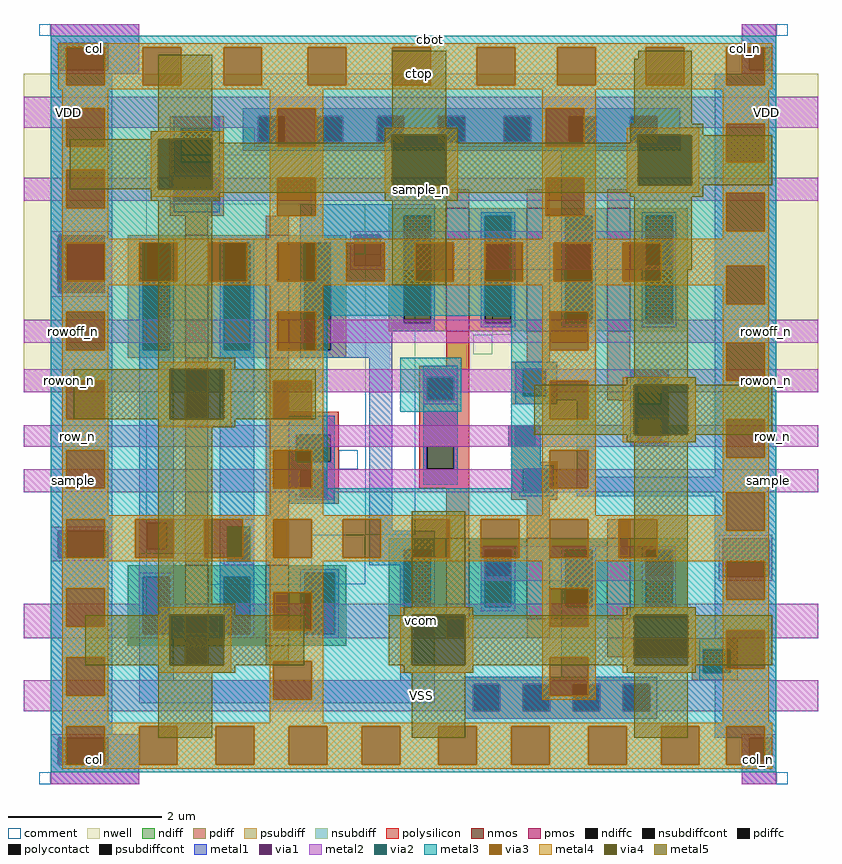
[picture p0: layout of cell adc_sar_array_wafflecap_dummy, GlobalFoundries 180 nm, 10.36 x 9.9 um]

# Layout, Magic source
magic
tech gf180mcuD
magscale 1 10
<< nwell >>
rect 2501 1020 4571 1850
<< nmos >>
rect 2921 360 2981 570
rect 3131 360 3191 570
rect 3601 430 3661 640
rect 3811 430 3871 640
rect 4021 430 4081 640
<< pmos >>
rect 2921 1110 2981 1430
rect 3131 1110 3191 1430
rect 3601 1180 3661 1500
rect 3811 1180 3871 1500
rect 4021 1180 4081 1500
<< ndiff >>
rect 3451 610 3601 640
rect 2771 540 2921 570
rect 2771 390 2811 540
rect 2881 390 2921 540
rect 2771 360 2921 390
rect 2981 540 3131 570
rect 2981 390 3021 540
rect 3091 390 3131 540
rect 2981 360 3131 390
rect 3191 550 3341 570
rect 3191 390 3231 550
rect 3311 390 3341 550
rect 3451 460 3491 610
rect 3561 460 3601 610
rect 3451 430 3601 460
rect 3661 610 3811 640
rect 3661 460 3701 610
rect 3771 460 3811 610
rect 3661 430 3811 460
rect 3871 610 4021 640
rect 3871 460 3911 610
rect 3981 460 4021 610
rect 3871 430 4021 460
rect 4081 610 4231 640
rect 4081 460 4121 610
rect 4191 460 4231 610
rect 4081 430 4231 460
rect 3191 360 3341 390
<< pdiff >>
rect 3451 1480 3601 1500
rect 2771 1410 2921 1430
rect 2771 1130 2811 1410
rect 2881 1130 2921 1410
rect 2771 1110 2921 1130
rect 2981 1410 3131 1430
rect 2981 1130 3021 1410
rect 3091 1130 3131 1410
rect 2981 1110 3131 1130
rect 3191 1410 3341 1430
rect 3191 1130 3231 1410
rect 3301 1130 3341 1410
rect 3451 1200 3491 1480
rect 3561 1200 3601 1480
rect 3451 1180 3601 1200
rect 3661 1480 3811 1500
rect 3661 1200 3701 1480
rect 3771 1200 3811 1480
rect 3661 1180 3811 1200
rect 3871 1480 4021 1500
rect 3871 1200 3911 1480
rect 3981 1200 4021 1480
rect 3871 1180 4021 1200
rect 4081 1480 4231 1500
rect 4081 1200 4121 1480
rect 4191 1200 4231 1480
rect 4081 1180 4231 1200
rect 3191 1110 3341 1130
<< ndiffc >>
rect 2811 390 2881 540
rect 3021 390 3091 540
rect 3231 390 3311 550
rect 3491 460 3561 610
rect 3701 460 3771 610
rect 3911 460 3981 610
rect 4121 460 4191 610
<< pdiffc >>
rect 2811 1130 2881 1410
rect 3021 1130 3091 1410
rect 3231 1130 3301 1410
rect 3491 1200 3561 1480
rect 3701 1200 3771 1480
rect 3911 1200 3981 1480
rect 4121 1200 4191 1480
<< psubdiff >>
rect 3651 260 4151 280
rect 3651 190 3671 260
rect 3741 190 3801 260
rect 3871 190 3931 260
rect 4001 190 4061 260
rect 4131 190 4151 260
rect 3651 170 4151 190
<< nsubdiff >>
rect 3071 1740 4211 1760
rect 3071 1670 3111 1740
rect 3181 1670 3261 1740
rect 3331 1670 3421 1740
rect 3491 1670 3581 1740
rect 3651 1670 3751 1740
rect 3821 1670 3921 1740
rect 3991 1670 4081 1740
rect 4151 1670 4211 1740
rect 3071 1650 4211 1670
<< psubdiffcont >>
rect 3671 190 3741 260
rect 3801 190 3871 260
rect 3931 190 4001 260
rect 4061 190 4131 260
<< nsubdiffcont >>
rect 3111 1670 3181 1740
rect 3261 1670 3331 1740
rect 3421 1670 3491 1740
rect 3581 1670 3651 1740
rect 3751 1670 3821 1740
rect 3921 1670 3991 1740
rect 4081 1670 4151 1740
<< polysilicon >>
rect 2881 1710 3021 1740
rect 2881 1620 2911 1710
rect 2991 1620 3021 1710
rect 2881 1480 3021 1620
rect 3601 1500 3661 1550
rect 3811 1500 3871 1550
rect 4021 1500 4081 1550
rect 2921 1430 2981 1480
rect 3131 1430 3191 1480
rect 2591 1280 2711 1430
rect 2921 570 2981 1110
rect 3131 970 3191 1110
rect 3601 1090 3661 1180
rect 3811 1100 3871 1180
rect 3531 1060 3661 1090
rect 3531 1000 3551 1060
rect 3621 1000 3661 1060
rect 3131 910 3321 970
rect 3131 840 3211 910
rect 3301 840 3321 910
rect 3131 730 3321 840
rect 3531 880 3661 1000
rect 3771 1080 3891 1100
rect 3771 1010 3801 1080
rect 3861 1010 3891 1080
rect 3771 990 3891 1010
rect 4021 1080 4081 1180
rect 4021 1060 4181 1080
rect 4021 1000 4101 1060
rect 4052 999 4101 1000
rect 4081 990 4101 999
rect 4161 990 4181 1060
rect 3531 820 3551 880
rect 3621 820 3661 880
rect 3763 878 3847 934
rect 4081 880 4181 990
rect 3531 770 3661 820
rect 3131 570 3191 730
rect 3601 640 3661 770
rect 3771 840 3847 878
rect 3771 820 3891 840
rect 3771 760 3801 820
rect 3871 760 3891 820
rect 3771 740 3891 760
rect 3811 640 3871 740
rect 4021 640 4081 690
rect 3601 380 3661 430
rect 3811 380 3871 430
rect 4021 380 4081 430
rect 2921 310 2981 360
rect 3131 310 3191 360
rect 4021 350 4361 380
rect 4021 330 4271 350
rect 4241 290 4271 330
rect 4341 290 4361 350
rect 4241 270 4361 290
<< polycontact >>
rect 2911 1620 2991 1710
rect 3551 1000 3621 1060
rect 3211 840 3301 910
rect 3801 1010 3861 1080
rect 4101 990 4161 1060
rect 3551 820 3621 880
rect 3801 760 3871 820
rect 4271 290 4341 350
<< metal1 >>
rect 2571 1930 2801 1980
rect 2571 1860 2591 1930
rect 2721 1860 2801 1930
rect 2571 1850 2801 1860
rect 4371 1920 4461 1980
rect 4371 1860 4391 1920
rect 4451 1860 4461 1920
rect 4371 1850 4461 1860
rect 2571 1430 2731 1850
rect 3071 1740 4211 1760
rect 2891 1710 3011 1740
rect 2891 1620 2911 1710
rect 2991 1620 3011 1710
rect 3071 1670 3111 1740
rect 3181 1670 3261 1740
rect 3331 1670 3421 1740
rect 3491 1670 3581 1740
rect 3651 1670 3751 1740
rect 3821 1670 3921 1740
rect 3991 1670 4081 1740
rect 4151 1670 4211 1740
rect 3071 1650 4211 1670
rect 2891 1580 3011 1620
rect 2891 1490 3011 1520
rect 2571 1280 2591 1430
rect 2711 1280 2731 1430
rect 3221 1480 3571 1510
rect 3221 1430 3491 1480
rect 2571 660 2731 1280
rect 2571 590 2591 660
rect 2721 590 2731 660
rect 2801 1410 2891 1420
rect 2801 1130 2811 1410
rect 2881 1130 2891 1410
rect 2801 680 2891 1130
rect 2801 611 2821 680
rect 2873 611 2891 680
rect 2801 600 2891 611
rect 3011 1410 3101 1420
rect 3011 1130 3021 1410
rect 3091 1130 3101 1410
rect 3011 650 3101 1130
rect 3221 1410 3361 1430
rect 3221 1130 3231 1410
rect 3301 1350 3361 1410
rect 3431 1350 3491 1430
rect 3301 1200 3491 1350
rect 3561 1200 3571 1480
rect 3301 1180 3571 1200
rect 3691 1480 3781 1490
rect 3691 1200 3701 1480
rect 3771 1200 3781 1480
rect 3691 1190 3781 1200
rect 3901 1480 3991 1650
rect 3901 1200 3911 1480
rect 3981 1200 3991 1480
rect 3901 1190 3991 1200
rect 4111 1480 4201 1490
rect 4111 1200 4121 1480
rect 4191 1200 4201 1480
rect 4111 1190 4201 1200
rect 3301 1130 3461 1180
rect 3221 1110 3461 1130
rect 3191 910 3311 960
rect 3191 840 3211 910
rect 3301 840 3311 910
rect 3191 818 3311 840
rect 3191 747 3221 818
rect 3291 747 3311 818
rect 3191 730 3311 747
rect 2571 130 2731 590
rect 3011 580 3031 650
rect 3083 580 3101 650
rect 2801 540 2891 550
rect 2801 390 2811 540
rect 2881 390 2891 540
rect 2801 270 2891 390
rect 3011 540 3101 580
rect 3401 660 3461 1110
rect 3541 1060 3631 1090
rect 3541 1000 3551 1060
rect 3621 1000 3631 1060
rect 3541 880 3631 1000
rect 3781 1080 3891 1100
rect 3781 1010 3801 1080
rect 3861 1050 3891 1080
rect 4081 1060 4181 1080
rect 3861 1010 3991 1050
rect 3781 1000 3991 1010
rect 3781 990 3891 1000
rect 3541 820 3551 880
rect 3621 820 3631 880
rect 3763 932 3847 934
rect 3763 880 3781 932
rect 3833 880 3847 932
rect 3763 878 3847 880
rect 3541 780 3631 820
rect 3771 830 3847 878
rect 3771 820 3881 830
rect 3771 760 3801 820
rect 3871 760 3881 820
rect 3791 750 3881 760
rect 3941 800 3991 1000
rect 4081 990 4101 1060
rect 4161 990 4181 1060
rect 4081 950 4181 990
rect 4081 890 4101 950
rect 4161 890 4181 950
rect 4081 880 4181 890
rect 4301 800 4461 1850
rect 3941 750 4461 800
rect 3401 610 3571 660
rect 4301 640 4461 750
rect 3401 570 3491 610
rect 3011 390 3021 540
rect 3091 390 3101 540
rect 3011 380 3101 390
rect 3221 550 3321 560
rect 3221 390 3231 550
rect 3311 390 3321 550
rect 3221 380 3321 390
rect 3481 460 3491 570
rect 3561 460 3571 610
rect 3481 270 3571 460
rect 3691 610 3781 620
rect 3691 460 3701 610
rect 3771 460 3781 610
rect 3691 450 3781 460
rect 3901 610 3991 620
rect 3901 460 3911 610
rect 3981 460 3991 610
rect 3901 280 3991 460
rect 4111 610 4201 620
rect 4111 460 4121 610
rect 4191 460 4201 610
rect 4111 450 4201 460
rect 4301 540 4321 640
rect 4441 540 4461 640
rect 4301 380 4461 540
rect 4261 350 4461 380
rect 4261 290 4271 350
rect 4341 290 4461 350
rect 2801 210 3571 270
rect 3651 260 4151 280
rect 4261 270 4461 290
rect 3651 190 3671 260
rect 3741 190 3801 260
rect 3871 190 3931 260
rect 4001 190 4061 260
rect 4131 190 4151 260
rect 3651 170 4151 190
rect 2571 120 2801 130
rect 4301 120 4461 270
rect 2571 50 2591 120
rect 2721 50 2801 120
rect 2571 0 2801 50
rect 4371 60 4391 120
rect 4451 60 4461 120
rect 4371 0 4461 60
<< via1 >>
rect 2591 1860 2721 1930
rect 4391 1860 4451 1920
rect 3111 1670 3181 1740
rect 3261 1670 3331 1740
rect 3421 1670 3491 1740
rect 3581 1670 3651 1740
rect 3751 1670 3821 1740
rect 3921 1670 3991 1740
rect 4081 1670 4151 1740
rect 2891 1520 3011 1580
rect 2591 1280 2711 1430
rect 2591 590 2721 660
rect 2821 611 2873 680
rect 3361 1350 3431 1430
rect 4121 1350 4191 1430
rect 3221 747 3291 818
rect 3031 580 3083 650
rect 3551 1000 3621 1060
rect 3781 880 3833 932
rect 4101 890 4161 950
rect 3701 540 3771 610
rect 4121 540 4191 610
rect 4321 540 4441 640
rect 3671 190 3741 260
rect 3801 190 3871 260
rect 3931 190 4001 260
rect 4061 190 4131 260
rect 2591 50 2721 120
rect 4391 60 4451 120
<< metal2 >>
rect 2571 1930 2801 1980
rect 2571 1860 2591 1930
rect 2721 1860 2801 1930
rect 2571 1850 2801 1860
rect 4371 1920 4461 1980
rect 4371 1860 4391 1920
rect 4451 1860 4461 1920
rect 4371 1850 4461 1860
rect 2501 1740 4571 1790
rect 2501 1710 3111 1740
rect 3101 1670 3111 1710
rect 3181 1670 3261 1740
rect 3331 1670 3421 1740
rect 3491 1670 3581 1740
rect 3651 1670 3751 1740
rect 3821 1670 3921 1740
rect 3991 1670 4081 1740
rect 4151 1710 4571 1740
rect 4151 1670 4211 1710
rect 3101 1660 4211 1670
rect 2881 1580 3021 1590
rect 2501 1520 2891 1580
rect 3011 1520 4571 1580
rect 2881 1510 3021 1520
rect 2571 1430 2731 1440
rect 2571 1280 2591 1430
rect 2711 1280 2731 1430
rect 3351 1430 4201 1440
rect 3351 1350 3361 1430
rect 3431 1350 4121 1430
rect 4191 1350 4201 1430
rect 3351 1340 4201 1350
rect 2571 1270 2731 1280
rect 2500 1150 4571 1210
rect 2501 1060 4571 1080
rect 2501 1020 3551 1060
rect 3541 1000 3551 1020
rect 3621 1020 4571 1060
rect 3621 1000 3631 1020
rect 3541 990 3631 1000
rect 4081 950 4181 960
rect 4081 934 4101 950
rect 2500 932 4101 934
rect 2500 880 3781 932
rect 3833 890 4101 932
rect 4161 934 4181 950
rect 4161 890 4570 934
rect 3833 880 4570 890
rect 2500 878 4570 880
rect 2501 818 4571 820
rect 2501 760 3221 818
rect 3209 747 3221 760
rect 3291 760 4571 818
rect 3291 747 3308 760
rect 3209 740 3308 747
rect 2801 680 3101 690
rect 2571 660 2731 670
rect 2571 590 2591 660
rect 2721 590 2731 660
rect 2571 580 2731 590
rect 2801 611 2821 680
rect 2873 670 3101 680
rect 2873 611 3031 670
rect 2801 600 3031 611
rect 2801 470 2891 600
rect 3021 580 3031 600
rect 3091 580 3101 670
rect 4311 640 4451 650
rect 3021 570 3101 580
rect 3691 610 4201 620
rect 3691 540 3701 610
rect 3771 540 4121 610
rect 4191 540 4201 610
rect 3691 530 4201 540
rect 4311 540 4321 640
rect 4441 540 4451 640
rect 4311 530 4451 540
rect 2501 380 4571 470
rect 2501 260 4571 270
rect 2501 190 3671 260
rect 3741 190 3801 260
rect 3871 190 3931 260
rect 4001 190 4061 260
rect 4131 190 4571 260
rect 3651 170 4151 190
rect 2571 120 2801 130
rect 2571 50 2591 120
rect 2721 50 2801 120
rect 2571 0 2801 50
rect 4371 120 4461 130
rect 4371 60 4391 120
rect 4451 60 4461 120
rect 4371 0 4461 60
<< via2 >>
rect 3031 650 3091 670
rect 3031 580 3083 650
rect 3083 580 3091 650
<< metal3 >>
rect 2571 1920 4461 1950
rect 2571 1820 2611 1920
rect 2711 1820 2811 1920
rect 2911 1820 3021 1920
rect 3121 1820 3241 1920
rect 3341 1820 3461 1920
rect 3561 1820 3681 1920
rect 3781 1820 3891 1920
rect 3991 1820 4121 1920
rect 4221 1820 4331 1920
rect 4431 1820 4461 1920
rect 2571 1760 4461 1820
rect 2571 1660 2611 1760
rect 2711 1660 3161 1760
rect 3261 1660 3861 1760
rect 3961 1720 4461 1760
rect 3961 1660 4331 1720
rect 2571 1620 4331 1660
rect 4431 1620 4461 1720
rect 2571 1600 4461 1620
rect 2571 1500 2611 1600
rect 2711 1580 4461 1600
rect 2711 1500 3161 1580
rect 2571 1480 3161 1500
rect 3261 1480 3861 1580
rect 3961 1540 4461 1580
rect 3961 1480 4331 1540
rect 2571 1440 4331 1480
rect 4431 1440 4461 1540
rect 2571 1410 4461 1440
rect 2571 1310 2611 1410
rect 2711 1310 2801 1410
rect 2901 1310 2981 1410
rect 3081 1310 3161 1410
rect 3261 1310 3341 1410
rect 3441 1310 3521 1410
rect 3621 1310 3701 1410
rect 3801 1310 3881 1410
rect 3981 1310 4061 1410
rect 4161 1350 4461 1410
rect 4161 1310 4331 1350
rect 2571 1250 4331 1310
rect 4431 1250 4461 1350
rect 2571 1230 4461 1250
rect 2571 1130 2611 1230
rect 2711 1130 3161 1230
rect 3261 1220 3871 1230
rect 3261 1130 3291 1220
rect 2571 1050 3291 1130
rect 3771 1130 3871 1220
rect 3971 1150 4461 1230
rect 3971 1130 4331 1150
rect 2571 950 2611 1050
rect 2711 950 3151 1050
rect 3251 950 3291 1050
rect 3481 970 3641 1110
rect 3771 1050 4331 1130
rect 4431 1050 4461 1150
rect 2571 870 3291 950
rect 2571 770 2611 870
rect 2711 770 3151 870
rect 3251 770 3291 870
rect 3771 950 3871 1050
rect 3971 950 4461 1050
rect 3771 870 4331 950
rect 3771 770 3871 870
rect 3971 850 4331 870
rect 4431 850 4461 950
rect 3971 770 4461 850
rect 2571 760 4461 770
rect 2571 690 4331 760
rect 2571 590 2611 690
rect 2711 590 2791 690
rect 2891 590 2971 690
rect 3071 670 3151 690
rect 3091 590 3151 670
rect 3251 590 3331 690
rect 3431 590 3511 690
rect 3611 590 3691 690
rect 3791 590 3871 690
rect 3971 590 4051 690
rect 4151 660 4331 690
rect 4431 660 4461 760
rect 4151 590 4461 660
rect 2571 580 3031 590
rect 3091 580 4461 590
rect 2571 510 4331 580
rect 2571 410 2611 510
rect 2711 500 3871 510
rect 2711 410 3151 500
rect 2571 400 3151 410
rect 3251 410 3871 500
rect 3971 480 4331 510
rect 4431 480 4461 580
rect 3971 410 4461 480
rect 3251 400 4461 410
rect 2571 330 4331 400
rect 2571 230 2611 330
rect 2711 320 3871 330
rect 2711 230 3151 320
rect 2571 220 3151 230
rect 3251 230 3871 320
rect 3971 300 4331 330
rect 4431 300 4461 400
rect 3971 230 4461 300
rect 3251 220 4461 230
rect 2571 150 4461 220
rect 2571 50 2611 150
rect 2711 50 2801 150
rect 2901 50 3001 150
rect 3101 50 3191 150
rect 3291 50 3381 150
rect 3481 50 3581 150
rect 3681 50 3771 150
rect 3871 50 3971 150
rect 4071 50 4161 150
rect 4261 50 4331 150
rect 4431 50 4461 150
rect 2571 30 4461 50
<< via3 >>
rect 2611 1820 2711 1920
rect 2811 1820 2911 1920
rect 3021 1820 3121 1920
rect 3241 1820 3341 1920
rect 3461 1820 3561 1920
rect 3681 1820 3781 1920
rect 3891 1820 3991 1920
rect 4121 1820 4221 1920
rect 4331 1820 4431 1920
rect 2611 1660 2711 1760
rect 3161 1660 3261 1760
rect 3861 1660 3961 1760
rect 4331 1620 4431 1720
rect 2611 1500 2711 1600
rect 3161 1480 3261 1580
rect 3861 1480 3961 1580
rect 4331 1440 4431 1540
rect 2611 1310 2711 1410
rect 2801 1310 2901 1410
rect 2981 1310 3081 1410
rect 3161 1310 3261 1410
rect 3341 1310 3441 1410
rect 3521 1310 3621 1410
rect 3701 1310 3801 1410
rect 3881 1310 3981 1410
rect 4061 1310 4161 1410
rect 4331 1250 4431 1350
rect 2611 1130 2711 1230
rect 3161 1130 3261 1230
rect 3871 1130 3971 1230
rect 2611 950 2711 1050
rect 3151 950 3251 1050
rect 4331 1050 4431 1150
rect 2611 770 2711 870
rect 3151 770 3251 870
rect 3871 950 3971 1050
rect 3871 770 3971 870
rect 4331 850 4431 950
rect 2611 590 2711 690
rect 2791 590 2891 690
rect 2971 670 3071 690
rect 2971 590 3031 670
rect 3031 590 3071 670
rect 3151 590 3251 690
rect 3331 590 3431 690
rect 3511 590 3611 690
rect 3691 590 3791 690
rect 3871 590 3971 690
rect 4051 590 4151 690
rect 4331 660 4431 760
rect 2611 410 2711 510
rect 3151 400 3251 500
rect 3871 410 3971 510
rect 4331 480 4431 580
rect 2611 230 2711 330
rect 3151 220 3251 320
rect 3871 230 3971 330
rect 4331 300 4431 400
rect 2611 50 2711 150
rect 2801 50 2901 150
rect 3001 50 3101 150
rect 3191 50 3291 150
rect 3381 50 3481 150
rect 3581 50 3681 150
rect 3771 50 3871 150
rect 3971 50 4071 150
rect 4161 50 4261 150
rect 4331 50 4431 150
<< metal4 >>
rect 2591 1920 4451 1930
rect 2591 1820 2611 1920
rect 2711 1820 2811 1920
rect 2911 1820 3021 1920
rect 3121 1820 3241 1920
rect 3341 1820 3461 1920
rect 3561 1820 3681 1920
rect 3781 1820 3891 1920
rect 3991 1820 4121 1920
rect 4221 1820 4331 1920
rect 4431 1820 4451 1920
rect 2591 1810 4451 1820
rect 2601 1760 2721 1810
rect 2601 1660 2611 1760
rect 2711 1660 2721 1760
rect 3141 1760 3281 1810
rect 2601 1600 2721 1660
rect 2601 1500 2611 1600
rect 2711 1500 2721 1600
rect 2831 1680 3021 1700
rect 2831 1550 2851 1680
rect 2991 1550 3021 1680
rect 2831 1530 3021 1550
rect 3141 1660 3161 1760
rect 3261 1660 3281 1760
rect 3851 1760 3991 1810
rect 3141 1580 3281 1660
rect 2601 1420 2721 1500
rect 3141 1480 3161 1580
rect 3261 1480 3281 1580
rect 3441 1690 3631 1710
rect 3441 1560 3461 1690
rect 3601 1560 3631 1690
rect 3441 1540 3631 1560
rect 3851 1660 3861 1760
rect 3961 1660 3991 1760
rect 4321 1720 4441 1810
rect 3851 1580 3991 1660
rect 3141 1420 3281 1480
rect 3851 1480 3861 1580
rect 3961 1480 3991 1580
rect 4071 1690 4261 1710
rect 4071 1560 4101 1690
rect 4241 1560 4261 1690
rect 4071 1540 4261 1560
rect 4321 1620 4331 1720
rect 4431 1620 4441 1720
rect 4321 1540 4441 1620
rect 3851 1420 3991 1480
rect 4321 1440 4331 1540
rect 4431 1440 4441 1540
rect 4321 1420 4441 1440
rect 2601 1410 4441 1420
rect 2601 1310 2611 1410
rect 2711 1310 2801 1410
rect 2901 1310 2981 1410
rect 3081 1310 3161 1410
rect 3261 1310 3341 1410
rect 3441 1310 3521 1410
rect 3621 1310 3701 1410
rect 3801 1310 3881 1410
rect 3981 1310 4061 1410
rect 4161 1350 4441 1410
rect 4161 1310 4331 1350
rect 2601 1300 4331 1310
rect 2601 1230 2721 1300
rect 2601 1130 2611 1230
rect 2711 1130 2721 1230
rect 2601 1050 2721 1130
rect 3141 1230 3281 1300
rect 3141 1130 3161 1230
rect 3261 1130 3281 1230
rect 2601 950 2611 1050
rect 2711 950 2721 1050
rect 2601 870 2721 950
rect 2851 1080 3041 1100
rect 2851 950 2881 1080
rect 3021 950 3041 1080
rect 2851 930 3041 950
rect 3141 1050 3281 1130
rect 3141 950 3151 1050
rect 3251 950 3281 1050
rect 2601 770 2611 870
rect 2711 770 2721 870
rect 2601 700 2721 770
rect 3141 870 3281 950
rect 3141 770 3151 870
rect 3251 770 3281 870
rect 3141 700 3281 770
rect 3851 1230 3991 1300
rect 3851 1130 3871 1230
rect 3971 1130 3991 1230
rect 3851 1050 3991 1130
rect 4321 1250 4331 1300
rect 4431 1250 4441 1350
rect 4321 1150 4441 1250
rect 3851 950 3871 1050
rect 3971 950 3991 1050
rect 3851 870 3991 950
rect 4061 1040 4251 1060
rect 4061 910 4091 1040
rect 4231 910 4251 1040
rect 4061 890 4251 910
rect 4321 1050 4331 1150
rect 4431 1050 4441 1150
rect 4321 950 4441 1050
rect 3851 770 3871 870
rect 3971 770 3991 870
rect 3851 700 3991 770
rect 4321 850 4331 950
rect 4431 850 4441 950
rect 4321 760 4441 850
rect 4321 700 4331 760
rect 2601 690 4331 700
rect 2601 590 2611 690
rect 2711 590 2791 690
rect 2891 590 2971 690
rect 3071 590 3151 690
rect 3251 590 3331 690
rect 3431 590 3511 690
rect 3611 590 3691 690
rect 3791 590 3871 690
rect 3971 590 4051 690
rect 4151 660 4331 690
rect 4431 660 4441 760
rect 4151 590 4441 660
rect 2601 580 4441 590
rect 2601 510 2721 580
rect 2601 410 2611 510
rect 2711 410 2721 510
rect 3141 500 3281 580
rect 2601 330 2721 410
rect 2601 230 2611 330
rect 2711 230 2721 330
rect 2851 440 3041 460
rect 2851 310 2881 440
rect 3021 310 3041 440
rect 2851 290 3041 310
rect 3141 400 3151 500
rect 3251 400 3281 500
rect 3851 510 3991 580
rect 3141 320 3281 400
rect 2601 160 2721 230
rect 3141 220 3151 320
rect 3251 220 3281 320
rect 3481 440 3671 460
rect 3481 310 3511 440
rect 3651 310 3671 440
rect 3481 290 3671 310
rect 3851 410 3871 510
rect 3971 410 3991 510
rect 4321 480 4331 580
rect 4431 480 4441 580
rect 3851 330 3991 410
rect 3851 230 3871 330
rect 3971 230 3991 330
rect 4061 440 4251 460
rect 4061 310 4091 440
rect 4231 310 4251 440
rect 4061 290 4251 310
rect 4321 400 4441 480
rect 4321 300 4331 400
rect 4431 300 4441 400
rect 3851 220 3991 230
rect 3141 160 3281 220
rect 4321 160 4441 300
rect 2601 150 4451 160
rect 2601 50 2611 150
rect 2711 50 2801 150
rect 2901 50 3001 150
rect 3101 50 3191 150
rect 3291 50 3381 150
rect 3481 50 3581 150
rect 3681 50 3771 150
rect 3871 50 3971 150
rect 4071 50 4161 150
rect 4261 50 4331 150
rect 4431 50 4451 150
rect 2601 40 4451 50
<< via4 >>
rect 2851 1550 2991 1680
rect 3461 1560 3601 1690
rect 4101 1560 4241 1690
rect 2881 950 3021 1080
rect 4091 910 4231 1040
rect 2881 310 3021 440
rect 3511 310 3651 440
rect 4091 310 4231 440
<< metal5 >>
rect 2851 1700 2991 1900
rect 3461 1710 3601 1910
rect 4101 1890 4241 1910
rect 4091 1720 4241 1890
rect 2831 1680 3011 1700
rect 2621 1550 2851 1680
rect 2991 1670 3011 1680
rect 3441 1690 3631 1710
rect 3441 1670 3461 1690
rect 2991 1560 3461 1670
rect 3601 1670 3631 1690
rect 4081 1690 4271 1720
rect 4081 1670 4101 1690
rect 3601 1560 4101 1670
rect 4241 1560 4451 1690
rect 2991 1550 4271 1560
rect 2831 1540 4271 1550
rect 2831 1520 3011 1540
rect 3441 1520 3631 1540
rect 4081 1530 4271 1540
rect 2851 1110 2991 1520
rect 3461 1300 3601 1520
rect 4091 1340 4241 1530
rect 2851 1080 3051 1110
rect 2631 950 2881 1080
rect 3021 950 3261 1080
rect 4091 1060 4231 1340
rect 4071 1040 4251 1060
rect 2851 930 3051 950
rect 2851 470 2991 930
rect 3831 910 4091 1040
rect 4231 910 4451 1040
rect 4071 890 4251 910
rect 2851 440 3051 470
rect 3511 460 3651 710
rect 4091 460 4231 890
rect 3491 440 3671 460
rect 4071 440 4251 460
rect 2661 310 2881 440
rect 3021 310 3231 440
rect 3451 310 3511 440
rect 3651 310 4091 440
rect 4231 310 4451 440
rect 2851 290 3051 310
rect 3491 290 3671 310
rect 4071 290 4251 310
rect 2851 120 2991 290
rect 3511 120 3651 290
rect 4091 120 4231 290
<< comment >>
rect 2541 1950 2571 1980
rect 4461 1950 4491 1980
rect 2820 1510 3250 1640
rect 2820 520 2980 1510
rect 3250 1380 3390 1510
rect 3321 820 3371 870
rect 3291 770 3321 820
rect 3390 650 3520 1380
rect 3721 1170 3771 1220
rect 3671 1120 3721 1170
rect 3250 520 3390 650
rect 2820 390 3250 520
rect 2541 0 2571 30
rect 4461 0 4491 30
use adc_sar_array_wafflecap_8  adc_sar_array_wafflecap_8_1
transform 1 0 3501 0 1 1210
box -1001 -1210 1070 770
<< labels >>
flabel metal1 4371 1850 4391 1980 5 FreeSans 320 0 0 0 col_n
port 2 s
flabel metal2 2501 1710 2731 1790 3 FreeSans 320 0 0 0 VDD
port 3 e
flabel metal2 4301 1710 4571 1790 7 FreeSans 320 0 0 0 VDD
port 4 w
flabel metal2 4301 1150 4571 1210 0 FreeSans 320 0 0 0 rowoff_n
port 7 nsew
flabel metal2 2501 1020 2741 1080 0 FreeSans 320 0 0 0 rowon_n
port 8 nsew
flabel metal2 4301 1020 4571 1080 0 FreeSans 320 0 0 0 rowon_n
port 9 nsew
flabel metal2 2501 880 2781 930 0 FreeSans 320 0 0 0 row_n
port 10 nsew
flabel metal2 4331 880 4570 930 0 FreeSans 320 0 0 0 row_n
port 11 nsew
flabel metal2 2501 760 2761 820 0 FreeSans 320 0 0 0 sample
port 12 nsew
flabel metal2 4311 760 4571 820 0 FreeSans 320 0 0 0 sample
port 13 nsew
flabel metal2 2501 1520 4571 1580 0 FreeSans 320 0 0 0 sample_n
port 14 nsew
flabel metal2 2501 380 4571 470 0 FreeSans 320 0 0 0 vcom
port 15 nsew
flabel metal1 4371 0 4461 130 5 FreeSans 320 0 0 0 col_n
port 1 s
flabel metal2 2501 190 4571 270 0 FreeSans 320 0 0 0 VSS
port 16 nsew
flabel metal2 2571 0 2801 130 0 FreeSans 320 0 0 0 col
port 17 nsew
flabel metal2 2571 1850 2801 1980 0 FreeSans 320 0 0 0 col
port 18 nsew
flabel metal5 3461 1790 3601 1910 0 FreeSans 320 0 0 0 ctop
port 19 nsew
flabel metal3 3561 1940 3561 1940 1 FreeSans 160 0 0 0 cbot
port 20 n
flabel metal2 2500 1150 2760 1210 0 FreeSans 320 0 0 0 rowoff_n
port 22 nsew
<< end >>

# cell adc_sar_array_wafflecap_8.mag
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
